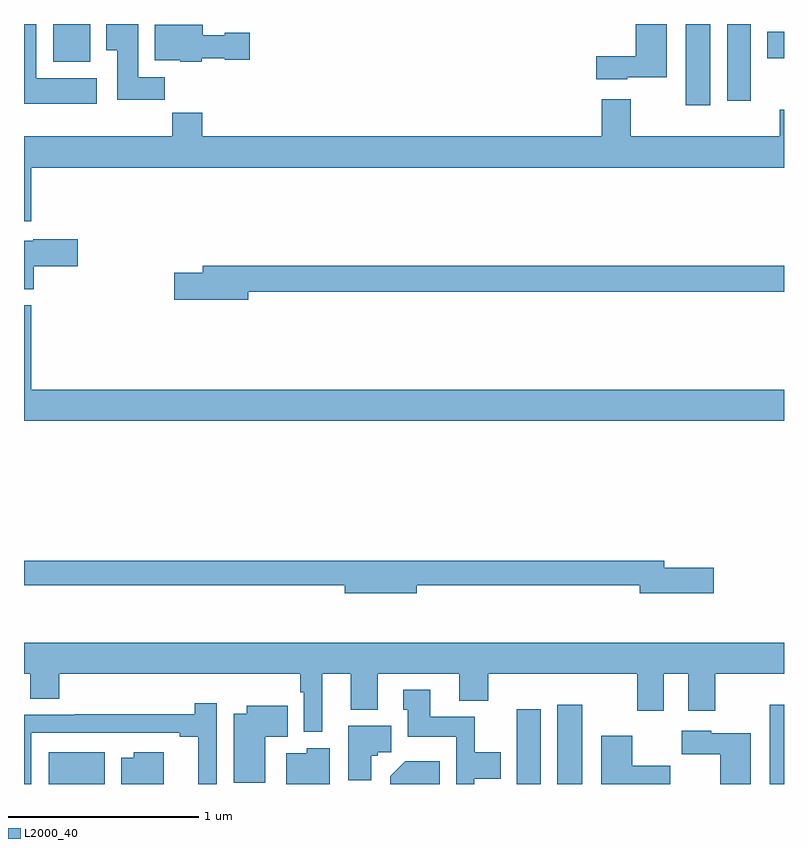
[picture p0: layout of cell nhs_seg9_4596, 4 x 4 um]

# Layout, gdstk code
import gdstk
lib = gdstk.Library(unit=1e-6, precision=1e-09)
def R(c, l, rs):  # rectangles x0, y0, x1, y1
    for r in rs: c.add(gdstk.rectangle(r[:2], r[2:], *l))
def P(c, l, *ps):  # polygons
    for p in ps: c.add(gdstk.Polygon(p, *l))
L2000_40 = (2000, 40)

nhs_seg9_4596 = lib.new_cell('nhs_seg9_4596')
R(nhs_seg9_4596, L2000_40, [(375.131,1202.5,375.424,1202.668), (377.594,1202.5,377.719,1202.893), (377.807,1202.5,377.938,1202.917), (378.926,1202.5,379,1202.917), (378.482,1206.072,378.613,1206.5), (378.701,1206.096,378.826,1206.5), (375.153,1206.302,375.349,1206.5), (378.911,1206.32,379,1206.46)])
P(nhs_seg9_4596, L2000_40, [(375.382,1206.214),(375.064,1206.214),(375.064,1206.5),(375,1206.5),(375,1206.08),(375.382,1206.08)],
  [(378.174,1206.221),(378.382,1206.221),(378.382,1206.5),(378.22,1206.5),(378.22,1206.331),(378.012,1206.331),(378.012,1206.209),(378.174,1206.209)],
  [(375.74,1206.22),(375.601,1206.22),(375.601,1206.5),(375.434,1206.5),(375.434,1206.361),(375.491,1206.361),(375.491,1206.102),(375.74,1206.102)],
  [(375.936,1206.32),(376.056,1206.32),(376.056,1206.313),(376.189,1206.313),(376.189,1206.455),(376.056,1206.455),(376.056,1206.442),(375.94,1206.442),(375.94,1206.496),(375.689,1206.496),(375.689,1206.308),(375.822,1206.308),(375.822,1206.302),(375.936,1206.302)],
  [(375.037,1205.744),(379,1205.744),(379,1206.049),(378.977,1206.049),(378.977,1205.908),(378.193,1205.908),(378.193,1206.103),(378.041,1206.103),(378.041,1205.908),(375.938,1205.908),(375.938,1206.032),(375.781,1206.032),(375.781,1205.908),(375,1205.908),(375,1205.463),(375.037,1205.463)],
  [(375.052,1205.225),(375.283,1205.225),(375.283,1205.367),(375.048,1205.367),(375.048,1205.359),(375,1205.359),(375,1205.105),(375.052,1205.105)],
  [(376.18,1205.092),(379,1205.092),(379,1205.228),(375.941,1205.228),(375.941,1205.192),(375.792,1205.192),(375.792,1205.05),(376.18,1205.05)],
  [(379,1204.576),(375.037,1204.576),(375.037,1205.02),(375,1205.02),(375,1204.412),(379,1204.412)],
  [(377.068,1203.546),(378.242,1203.546),(378.242,1203.503),(378.631,1203.503),(378.631,1203.638),(378.37,1203.638),(378.37,1203.674),(375,1203.674),(375,1203.546),(376.688,1203.546),(376.688,1203.503),(377.068,1203.503)],
  [(376.57,1203.08),(376.721,1203.08),(376.721,1202.891),(376.861,1202.891),(376.861,1203.08),(377.291,1203.08),(377.291,1202.939),(377.444,1202.939),(377.444,1203.08),(378.227,1203.08),(378.227,1202.886),(378.367,1202.886),(378.367,1203.08),(378.497,1203.08),(378.497,1202.886),(378.637,1202.886),(378.637,1203.08),(379,1203.08),(379,1203.244),(375,1203.244),(375,1203.08),(375.032,1203.08),(375.032,1202.95),(375.185,1202.95),(375.185,1203.08),(376.453,1203.08),(376.453,1202.984),(376.473,1202.984),(376.473,1202.774),(376.57,1202.774)],
  [(377.37,1202.528),(377.509,1202.528),(377.509,1202.668),(377.373,1202.668),(377.373,1202.854),(377.137,1202.854),(377.137,1202.995),(376.997,1202.995),(376.997,1202.892),(377.021,1202.892),(377.021,1202.75),(377.274,1202.75),(377.274,1202.5),(377.37,1202.5)],
  [(375.039,1202.769),(375.821,1202.769),(375.821,1202.749),(375.917,1202.749),(375.917,1202.5),(376.014,1202.5),(376.014,1202.926),(375.898,1202.926),(375.898,1202.867),(375.268,1202.867),(375.268,1202.865),(375,1202.865),(375,1202.5),(375.039,1202.5)],
  [(376.27,1202.75),(376.388,1202.75),(376.388,1202.911),(376.172,1202.911),(376.172,1202.869),(376.103,1202.869),(376.103,1202.506),(376.27,1202.506)],
  [(376.828,1202.65),(376.863,1202.65),(376.863,1202.668),(376.933,1202.668),(376.933,1202.806),(376.706,1202.806),(376.706,1202.52),(376.828,1202.52)],
  [(378.826,1202.767),(378.618,1202.767),(378.618,1202.779),(378.462,1202.779),(378.462,1202.657),(378.664,1202.657),(378.664,1202.5),(378.826,1202.5)],
  [(378.402,1202.596),(378.202,1202.596),(378.202,1202.755),(378.038,1202.755),(378.038,1202.5),(378.402,1202.5)],
  [(376.609,1202.689),(376.488,1202.689),(376.488,1202.662),(376.379,1202.662),(376.379,1202.5),(376.609,1202.5)],
  [(375.736,1202.668),(375.578,1202.668),(375.578,1202.638),(375.512,1202.638),(375.512,1202.5),(375.736,1202.5)],
  [(377.189,1202.62),(377.006,1202.62),(376.928,1202.542),(376.928,1202.5),(377.189,1202.5)])

lib.write_gds('nhs_seg9_4596.gds')
